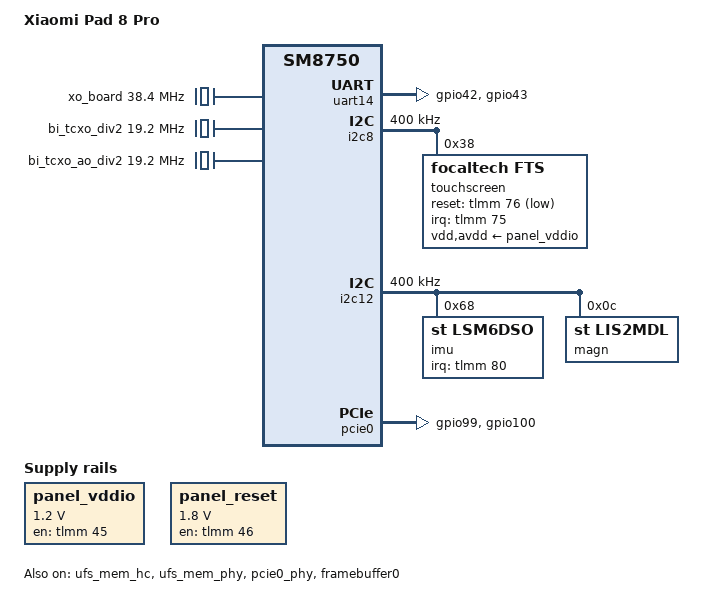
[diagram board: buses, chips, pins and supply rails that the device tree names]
// SPDX-License-Identifier: (GPL-2.0+ OR MIT)
/*
 * Device tree for Xiaomi Pad 8 Pro (SM8750-AB)
 *
 * Based on Qualcomm SM8750 MTP/QRD reference board.
 * Xiaomi Pad 8 Pro uses Snapdragon 8 Elite (SM8750-AB).
 */

/dts-v1/;

#include "sm8750.dtsi"
#include <dt-bindings/gpio/gpio.h>
#include <dt-bindings/interrupt-controller/irq.h>

/ {
	model = "Xiaomi Pad 8 Pro";
	compatible = "xiaomi,pad8pro", "qcom,sm8750", "qcom,sm8750-mtp";

	#address-cells = <2>;
	#size-cells = <2>;

	aliases {
		serial0 = &uart14;
	};

	chosen {
		bootargs = "console=tty0 console=ttyMSM0,115200n8 earlycon=msm_geni_serial,0xa9c000 root=/dev/block/by-name/userdata rootfstype=ext4 rw init=/sbin/init fbcon=nodefer loglevel=7";
		stdout-path = "/framebuffer@fc800000";
	};

	/* 板级固定时钟：补全 sm8750.dtsi 缺失的引用 */
	xo_board: xo-board {
		compatible = "fixed-clock";
		#clock-cells = <0>;
		clock-frequency = <38400000>;
		clock-output-names = "xo_board";
	};

	sleep_clk: sleep-clk {
		compatible = "fixed-clock";
		#clock-cells = <0>;
		clock-frequency = <32768>;
		clock-output-names = "sleep_clk";
	};

	bi_tcxo_div2: bi-tcxo-div2 {
		compatible = "fixed-clock";
		#clock-cells = <0>;
		clock-frequency = <19200000>;
		clock-output-names = "bi_tcxo_div2";
	};

	bi_tcxo_ao_div2: bi-tcxo-ao-div2 {
		compatible = "fixed-clock";
		#clock-cells = <0>;
		clock-frequency = <19200000>;
		clock-output-names = "bi_tcxo_ao_div2";
	};

	/* Panel regulator - 1.2V for DSI */
	panel_vddio: regulator-panel-vddio {
		compatible = "regulator-fixed";
		regulator-name = "panel_vddio";
		regulator-min-microvolt = <1200000>;
		regulator-max-microvolt = <1200000>;
		gpio = <&tlmm 45 GPIO_ACTIVE_HIGH>;
		enable-active-high;
		regulator-boot-on;
		pinctrl-names = "default";
		pinctrl-0 = <&panel_vddio_default>;
	};

	/* Panel reset GPIO */
	panel_reset: regulator-panel-reset {
		compatible = "regulator-fixed";
		regulator-name = "panel_reset";
		regulator-min-microvolt = <1800000>;
		regulator-max-microvolt = <1800000>;
		gpio = <&tlmm 46 GPIO_ACTIVE_HIGH>;
		enable-active-high;
		regulator-boot-on;
		pinctrl-names = "default";
		pinctrl-0 = <&panel_reset_default>;
	};

	/* 早期简单帧缓冲：复用bootloader splash显存，启动阶段输出内核日志 */
	framebuffer0: framebuffer@fc800000 {
		compatible = "simple-framebuffer";
		reg = <0x0 0xfc800000 0x0 0x02b00000>;
		width = <3200>;
		height = <2136>;
		stride = <12800>;
		format = "a8r8g8b8";
		status = "okay";
	};
};

/* UART14 - Debug console */
&uart14 {
	status = "okay";
	pinctrl-names = "default";
	pinctrl-0 = <&uart14_default>;
};

/* I2C for touchscreen */
&i2c8 {
	status = "okay";
	clock-frequency = <400000>;

	/* FocalTech FT8756 or similar touch controller */
	touchscreen@38 {
		compatible = "focaltech,fts";
		reg = <0x38>;

		interrupt-parent = <&tlmm>;
		interrupts = <75 IRQ_TYPE_EDGE_FALLING>;

		reset-gpios = <&tlmm 76 GPIO_ACTIVE_LOW>;

		vdd-supply = <&panel_vddio>;
		avdd-supply = <&panel_vddio>;

		pinctrl-names = "default";
		pinctrl-0 = <&ts_default>;

		touchscreen-size-x = <3200>;
		touchscreen-size-y = <2136>;
		touchscreen-max-pressure = <255>;
	};
};

/* I2C for sensors */
&i2c12 {
	status = "okay";
	clock-frequency = <400000>;

	/* Accelerometer + Gyroscope */
	imu@68 {
		compatible = "st,lsm6dso";
		reg = <0x68>;

		interrupt-parent = <&tlmm>;
		interrupts = <80 IRQ_TYPE_LEVEL_HIGH>;
	};

	/* Magnetometer */
	magn@0c {
		compatible = "st,lis2mdl";
		reg = <0x0c>;
	};
};

/* UFS Storage */
&ufs_mem_hc {
	status = "okay";
};

&ufs_mem_phy {
	status = "okay";
};

/* WiFi / BT (WCN7850 via PCIe) */
&pcie0 {
	status = "okay";

	perst-gpios = <&tlmm 100 GPIO_ACTIVE_LOW>;
	enable-gpios = <&tlmm 99 GPIO_ACTIVE_HIGH>;

	pinctrl-names = "default";
	pinctrl-0 = <&pcie0_default>;
};

&pcie0_phy {
	status = "okay";
};

&tlmm {
	panel_vddio_default: panel-vddio-default {
		pins = "gpio45";
		function = "gpio";
		drive-strength = <8>;
		bias-disable;
	};

	panel_reset_default: panel-reset-default {
		pins = "gpio46";
		function = "gpio";
		drive-strength = <8>;
		bias-disable;
	};

	ts_default: ts-default {
		pins = "gpio75", "gpio76";
		function = "gpio";
		drive-strength = <8>;
		bias-pull-up;
	};

	uart14_default: uart14-default {
		pins = "gpio42", "gpio43";
		function = "qup_se5_uart";
		drive-strength = <8>;
		bias-disable;
	};

	pcie0_default: pcie0-default {
		pins = "gpio99", "gpio100";
		function = "gpio";
		drive-strength = <8>;
		bias-disable;
	};
};
